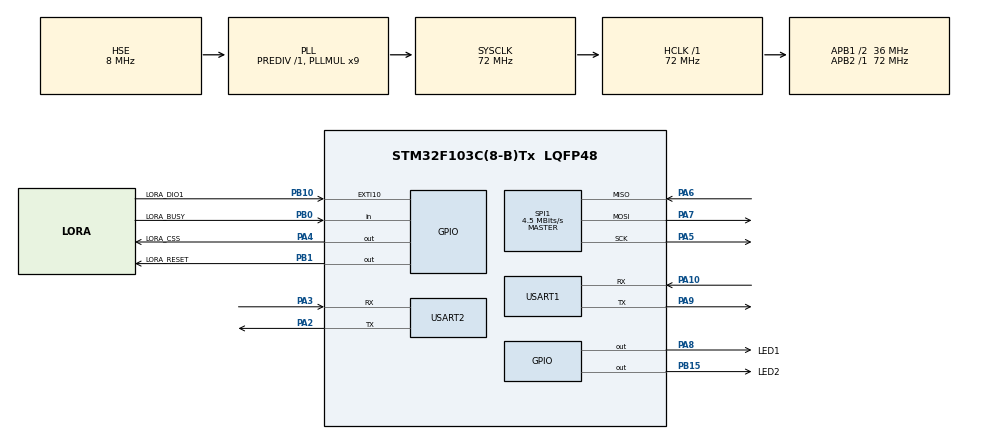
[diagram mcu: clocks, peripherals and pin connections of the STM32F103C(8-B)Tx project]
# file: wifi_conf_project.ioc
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IWDG.Prescaler=IWDG_PRESCALER_64
IWDG.Reload=1250
Mcu.Family=STM32F1
Mcu.Name=STM32F103C(8-B)Tx
Mcu.Package=LQFP48
NVIC.EXTI15_10_IRQn=true\:12\:0\:true\:false\:true\:true\:true\:true
NVIC.PriorityGroup=NVIC_PRIORITYGROUP_4
NVIC.TIM3_IRQn=true\:2\:0\:true\:false\:true\:true\:true\:true
NVIC.USART2_IRQn=true\:12\:0\:true\:false\:true\:true\:true\:true
PA10.Mode=Asynchronous
PA10.Signal=USART1_RX
PA13.Mode=Serial_Wire
PA13.Signal=SYS_JTMS-SWDIO
PA14.Mode=Serial_Wire
PA14.Signal=SYS_JTCK-SWCLK
PA2.Mode=Asynchronous
PA2.Signal=USART2_TX
PA3.Mode=Asynchronous
PA3.Signal=USART2_RX
PA4.GPIO_Label=LORA_CSS
PA4.PinState=GPIO_PIN_SET
PA4.Signal=GPIO_Output
PA5.Mode=Full_Duplex_Master
PA5.Signal=SPI1_SCK
PA6.Mode=Full_Duplex_Master
PA6.Signal=SPI1_MISO
PA7.Mode=Full_Duplex_Master
PA7.Signal=SPI1_MOSI
PA8.GPIO_Label=LED1
PA8.PinState=GPIO_PIN_SET
PA8.Signal=GPIO_Output
PA9.Mode=Asynchronous
PA9.Signal=USART1_TX
PB0.GPIO_Label=LORA_BUSY
PB0.GPIO_PuPd=GPIO_PULLUP
PB0.Signal=GPIO_Input
PB1.GPIO_Label=LORA_RESET
PB1.PinState=GPIO_PIN_SET
PB1.Signal=GPIO_Output
PB10.GPIO_Label=LORA_DIO1
PB10.GPIO_PuPd=GPIO_PULLDOWN
PB10.Signal=GPXTI10
PB15.GPIO_Label=LED2
PB15.PinState=GPIO_PIN_SET
PB15.Signal=GPIO_Output
PD0-OSC_IN.Mode=HSE-External-Oscillator
PD0-OSC_IN.Signal=RCC_OSC_IN
PD1-OSC_OUT.Mode=HSE-External-Oscillator
PD1-OSC_OUT.Signal=RCC_OSC_OUT
ProjectManager.HeapSize=0x200
ProjectManager.StackSize=0x400
ProjectManager.TargetToolchain=MDK-ARM V5
RCC.AHBFreq_Value=72000000
RCC.APB1CLKDivider=RCC_HCLK_DIV2
RCC.APB1Freq_Value=36000000
RCC.APB1TimFreq_Value=72000000
RCC.APB2Freq_Value=72000000
RCC.APB2TimFreq_Value=72000000
RCC.HCLKFreq_Value=72000000
RCC.PLLMUL=RCC_PLL_MUL9
RCC.PLLSourceVirtual=RCC_PLLSOURCE_HSE
RCC.SYSCLKFreq_VALUE=72000000
RCC.SYSCLKSource=RCC_SYSCLKSOURCE_PLLCLK
RCC.USBFreq_Value=72000000
SPI1.BaudRatePrescaler=SPI_BAUDRATEPRESCALER_16
SPI1.CalculateBaudRate=4.5 MBits/s
SPI1.Direction=SPI_DIRECTION_2LINES
SPI1.Mode=SPI_MODE_MASTER
SPI1.VirtualType=VM_MASTER
TIM3.Period=1000 - 1
TIM3.Prescaler=72 - 1
TIM4.Prescaler=72-1
USART1.VirtualMode=VM_ASYNC
USART2.VirtualMode=VM_ASYNC
VP_IWDG_VS_IWDG.Mode=IWDG_Activate
VP_TIM3_VS_ClockSourceINT.Mode=Internal
VP_TIM4_VS_ClockSourceINT.Mode=Internal
board=custom

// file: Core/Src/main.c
/* USER CODE BEGIN Header */
/**
 ******************************************************************************
 * @file           : main.c
 * @brief          : Main program body
 ******************************************************************************
 * @attention
 *
 * Copyright (c) 2026 STMicroelectronics.
 * All rights reserved.
 *
 * This software is licensed under terms that can be found in the LICENSE file
 * in the root directory of this software component.
 * If no LICENSE file comes with this software, it is provided AS-IS.
 *
 ******************************************************************************
 */
/* USER CODE END Header */
#include "main.h"
#include "iwdg.h"
#include "spi.h"
#include "tim.h"
#include "usart.h"
#include "gpio.h"

/* USER CODE BEGIN Includes */
#include <stdio.h>
#include <string.h>
#include <stdlib.h>
#include <stdbool.h>
#include "mqtt.h"
#include "delay.h"
#include "esp12e.h"
#include "radio.h"
#include "llcc68_example_recive.h"
#include "llcc68-board.h"
#include "project_config.h"

#include "FreeRTOSConfig.h"
#include "queue.h"
#include "iwdg.h"

/* USER CODE END Includes */

/* USER CODE BEGIN PTD */
/* LoRa 上行：终端板发来的传感器数据 */
typedef struct
{
  uint16_t light;
  uint16_t co2;
  float soil;
  float temp;
  float humi;
} SensorData;

/* LoRa 下行：网关发给终端板的命令帧，如 "RELAY:ON" */
typedef struct
{
  char frame[32];
} LoraCmd;
/* USER CODE END PTD */

/* USER CODE BEGIN PV */
#define BUF_SIZE 256
#define RADIO_RX_TEXT_SIZE 256U
uint8_t u2_rxbuf[BUF_SIZE] = {0};  // 用于记录单段数据的接收缓冲区
uint8_t u2_rxdata[BUF_SIZE] = {0}; // 用于记录完整数据的接收缓冲区

uint8_t u2_txdata[BUF_SIZE] = {0}; // 用于记录完整数据的发送缓冲区

volatile uint16_t u2_rxlen = 0;      // 用于记录接收完整数据的长度
volatile uint16_t u2_txlen = 0;      // 用于记录发送完整数据的长度
volatile uint8_t rx_flag = 0;        // 接收标志	用于标记是否收到服务器的消息
volatile uint8_t wifi_conf_flag = 0; // 配置标志  进入透传之后会生成

volatile uint8_t num = 0;

uint16_t light;
uint16_t co2;
float soil;
float temp;
float humi;

static QueueHandle_t xUplinkQueue = NULL; /* LoRaTask -> NetTask  */
static QueueHandle_t xLoraTxQueue = NULL; /* NetTask  -> LoRaTask */

static TaskHandle_t xNetTaskHandle = NULL; /* 给中断/其他任务发通知用 */
static TaskHandle_t xLoRaTaskHandle = NULL;

volatile uint8_t g_net_ready = 0;   /* 1 = MQTT 已连接，可以上报 */
extern bool IrqFired;                     /* radio.c 里的全局变量 */

/* USER CODE END PV */

void SystemClock_Config(void);
/* USER CODE BEGIN PFP */
static void vNetTask(void *pvParameters);
static void vLoRaTask(void *pvParameters);
static void vStatusTask(void *pvParameters);
/* USER CODE END PFP */

/* USER CODE BEGIN 0 */
int parse_sensor(const char *s)
{
  char tmp[64];
  char *p, *tok;

  /* 复制一份，strtok 会改原串 */
  if (strlen(s) >= sizeof(tmp))
    return -1;
  strcpy(tmp, s);

  tok = strtok(tmp, "_");
  if (!tok)
    return -1;
  light = (uint16_t)atoi(tok);
  tok = strtok(NULL, "_");
  if (!tok)
    return -1;
  soil = atof(tok);
  tok = strtok(NULL, "_");
  if (!tok)
    return -1;
  co2 = (uint16_t)atoi(tok);
  tok = strtok(NULL, "_");
  if (!tok)
    return -1;
  temp = atof(tok);
  tok = strtok(NULL, "_");
  if (!tok)
    return -1;
  humi = atof(tok);

  return 0;
}

/* 网络任务：以后负责 USART2 / AT / MQTT */
static void vNetTask(void *pvParameters)
{
  SensorData d;
  char pub[16];

  TickType_t last_print = xTaskGetTickCount();

  (void)pvParameters;

  if (HAL_UARTEx_ReceiveToIdle_IT(&huart2, u2_rxbuf, BUF_SIZE) != HAL_OK)
  {
    Error_Handler();
  }

  /* 1. WiFi + TCP 透传 */
  for (;;)
  {
    while (wifi_connect() == false)
    {
      printf("WiFi 连接失败，2 秒后重试\r\n");
      g_net_ready = 0;
      vTaskDelay(pdMS_TO_TICKS(2000));
    }

    if (MQTT_CONNECT((char *)CLIENT_KEY))
    {
      printf("MQTT CONNECT 成功\r\n");
      break;
    }

    printf("MQTT CONNECT 失败，2 秒后重连\r\n");
    g_net_ready = 0;
    vTaskDelay(pdMS_TO_TICKS(2000));
  }

  /* 2. 订阅 5 个传感器 + 1 个继电器 */
  MQTT_SUBSCRIBE(CLIENT_LIGHT_TOPIC, 0);
  MQTT_SUBSCRIBE(CLIENT_SOIL_TOPIC, 0);
  MQTT_SUBSCRIBE(CLIENT_CO2_TOPIC, 0);
  MQTT_SUBSCRIBE(CLIENT_TEMP_TOPIC, 0);
  MQTT_SUBSCRIBE(CLIENT_HUMI_TOPIC, 0);
  MQTT_SUBSCRIBE(CLIENT_RELAY_TOPIC, 0);

  printf("MQTT 初始化完成\r\n");
  g_net_ready = 1;
  TickType_t hreat = xTaskGetTickCount();
  /* 3. 主循环：处理下行 */
  for (;;)
  {
    if(xTaskGetTickCount() - hreat > pdMS_TO_TICKS(60000))
    {
      mqtt_ping();
      hreat = xTaskGetTickCount();
    }

    (void)ulTaskNotifyTake(pdTRUE, pdMS_TO_TICKS(500));

    /* ===== 上行：LoRaTask 投递的传感器数据 ===== */
    while (xQueueReceive(xUplinkQueue, &d, 0) == pdPASS)
    {
      snprintf(pub, sizeof(pub), "%u", (unsigned)d.light);
      MQTT_Publish(CLIENT_LIGHT_TOPIC, pub);

      snprintf(pub, sizeof(pub), "%.1f", d.soil);
      MQTT_Publish(CLIENT_SOIL_TOPIC, pub);

      snprintf(pub, sizeof(pub), "%u", (unsigned)d.co2);
      MQTT_Publish(CLIENT_CO2_TOPIC, pub);

      snprintf(pub, sizeof(pub), "%.1f", d.temp);
      MQTT_Publish(CLIENT_TEMP_TOPIC, pub);

      snprintf(pub, sizeof(pub), "%.1f", d.humi);
      MQTT_Publish(CLIENT_HUMI_TOPIC, pub);
    }

    if (rx_flag)
    {
      rx_flag = 0;

      if (u2_rxlen > 4 && u2_rxdata[0] == 0x30)
      {
        uint8_t rem = u2_rxdata[1]; // 本帧剩余长度
        uint16_t topic_len = (u2_rxdata[2] << 8) | u2_rxdata[3];
        uint16_t payload_index = 2 + 2 + topic_len;
        uint16_t payload_len = rem - 2 - topic_len;

        if (payload_index < u2_rxlen)
        {
          uint8_t payload_buf[BUF_SIZE] = {0};

          if (payload_len >= BUF_SIZE)
            payload_len = BUF_SIZE - 1;
          memcpy(payload_buf, &u2_rxdata[payload_index], payload_len);
          payload_buf[payload_len] = '\0';

          printf("云平台:[%s]\r\n", payload_buf);

          if ((topic_len == strlen(CLIENT_LIGHT_TOPIC)) && (memcmp(&u2_rxdata[4], CLIENT_LIGHT_TOPIC, topic_len) == 0))
          {
            if (strstr((char *)payload_buf, "on"))
              HAL_GPIO_WritePin(GPIOA, LED1_Pin, GPIO_PIN_RESET);
            else if (strstr((char *)payload_buf, "off"))
              HAL_GPIO_WritePin(GPIOA, LED1_Pin, GPIO_PIN_SET);
          }
          else if ((topic_len == strlen(CLIENT_RELAY_TOPIC)) && (memcmp(&u2_rxdata[4], CLIENT_RELAY_TOPIC, topic_len) == 0))
          {
            // 发送继电器下发的开关命令
          }
        }
      }

      USART2_ClearBuffer();
    }

    if ((xTaskGetTickCount() - last_print) >= pdMS_TO_TICKS(1000))
    {
      last_print = xTaskGetTickCount();
      printf("NET alive, heap=%u\r\n", (unsigned)xPortGetFreeHeapSize());
    }
  }
}

/* LoRa 任务：收终端板的数据，投给 NetTask */
static void vLoRaTask(void *pvParameters)
{
  SensorData data;

  (void)pvParameters;

  /* 如果之前加了“网络就绪才收”，这两行保留在 g_net_ready 判断之后 */
  while(g_net_ready == 0)
  {
    vTaskDelay(pdMS_TO_TICKS(100));
  }

  LLCC68ReciveInit();
  printf("LoRa init done\r\n");

  for (;;)
  {
    // printf("%d\n", g_dio1_cnt);
    /* 真正的事件源：DIO1 中断把 IrqFired 置 1，
       这里只负责处理 */
    Radio.IrqProcess();

    if (lora_rx_flag)
    {
      lora_rx_flag = 0;

      if (parse_sensor((const char *)lora_rx_buf) == 0)
      {
        data.light = light;
        data.co2   = co2;
        data.soil  = soil;
        data.temp  = temp;
        data.humi  = humi;

        printf("LoRa RX: %s (rssi=%d snr=%d)\r\n",
               lora_rx_buf, lora_rx_rssi, lora_rx_snr);

        if (xQueueSend(xUplinkQueue, &data, 0) == pdPASS)
        {
          xTaskNotifyGive(xNetTaskHandle);
        }
      }
    }

    vTaskDelay(pdMS_TO_TICKS(5));
  }
}

/* 状态任务：心跳灯 + 喂狗 */
static void vStatusTask(void *pvParameters)
{
  (void)pvParameters;

  for (;;)
  {
    // HAL_GPIO_TogglePin(LED1_GPIO_Port, LED1_Pin);
    (void)HAL_IWDG_Refresh(&hiwdg);

    vTaskDelay(pdMS_TO_TICKS(500));
  }
}
/* USER CODE END 0 */

int main(void)
{

  /* MCU Configuration--------------------------------------------------------*/

  /* Reset of all peripherals, Initializes the Flash interface and the Systick. */
  HAL_Init();

  /* Configure the system clock */
  SystemClock_Config();

  /* Initialize all configured peripherals */
  MX_GPIO_Init();
  MX_USART1_UART_Init();
  MX_USART2_UART_Init();
  MX_SPI1_Init();
  MX_TIM4_Init();
  MX_TIM3_Init();
  MX_IWDG_Init();
  /* USER CODE BEGIN 2 */

  /* 延时用 TIM4，保留 */
  HAL_TIM_Base_Start(&htim4);

  /* 1. 先创建 IPC 对象 */
  xUplinkQueue = xQueueCreate(4, sizeof(SensorData));
  xLoraTxQueue = xQueueCreate(4, sizeof(LoraCmd));

  if ((xUplinkQueue == NULL) || (xLoraTxQueue == NULL))
  {
    Error_Handler();
  }

  /* 2. 再创建任务 */
  if (xTaskCreate(vNetTask, "NET", 768, NULL, 4, &xNetTaskHandle) != pdPASS)
    Error_Handler();
  if (xTaskCreate(vLoRaTask, "LORA", 512, NULL, 3, &xLoRaTaskHandle) != pdPASS)
    Error_Handler();
  if (xTaskCreate(vStatusTask, "STAT", 128, NULL, 1, NULL) != pdPASS)
    Error_Handler();

  /* 3. 启动调度器（成功不返回） */
  vTaskStartScheduler();

  /* 只有启动失败才会到这里 */
  Error_Handler();
  /* USER CODE END 2 */

  /* Infinite loop */
  while (1)
  {

  }
}

void SystemClock_Config(void)
{
  RCC_OscInitTypeDef RCC_OscInitStruct = {0};
  RCC_ClkInitTypeDef RCC_ClkInitStruct = {0};

  /** Initializes the RCC Oscillators according to the specified parameters
  * in the RCC_OscInitTypeDef structure.
  */
  RCC_OscInitStruct.OscillatorType = RCC_OSCILLATORTYPE_LSI|RCC_OSCILLATORTYPE_HSE;
  RCC_OscInitStruct.HSEState = RCC_HSE_ON;
  RCC_OscInitStruct.HSEPredivValue = RCC_HSE_PREDIV_DIV1;
  RCC_OscInitStruct.HSIState = RCC_HSI_ON;
  RCC_OscInitStruct.LSIState = RCC_LSI_ON;
  RCC_OscInitStruct.PLL.PLLState = RCC_PLL_ON;
  RCC_OscInitStruct.PLL.PLLSource = RCC_PLLSOURCE_HSE;
  RCC_OscInitStruct.PLL.PLLMUL = RCC_PLL_MUL9;
  if (HAL_RCC_OscConfig(&RCC_OscInitStruct) != HAL_OK)
  {
    Error_Handler();
  }

  /** Initializes the CPU, AHB and APB buses clocks
  */
  RCC_ClkInitStruct.ClockType = RCC_CLOCKTYPE_HCLK|RCC_CLOCKTYPE_SYSCLK
                              |RCC_CLOCKTYPE_PCLK1|RCC_CLOCKTYPE_PCLK2;
  RCC_ClkInitStruct.SYSCLKSource = RCC_SYSCLKSOURCE_PLLCLK;
  RCC_ClkInitStruct.AHBCLKDivider = RCC_SYSCLK_DIV1;
  RCC_ClkInitStruct.APB1CLKDivider = RCC_HCLK_DIV2;
  RCC_ClkInitStruct.APB2CLKDivider = RCC_HCLK_DIV1;

  if (HAL_RCC_ClockConfig(&RCC_ClkInitStruct, FLASH_LATENCY_2) != HAL_OK)
  {
    Error_Handler();
  }
}

/* USER CODE BEGIN 4 */
// 空闲中断的回调函数  第二个参数Size就是接收的数据长度
void HAL_UARTEx_RxEventCallback(UART_HandleTypeDef *huart, uint16_t Size)
{
  BaseType_t woken = pdFALSE;

  if (huart->Instance == USART2)
  {
    /* 1. AT 用的环形缓冲 */
    UART_RingPut(u2_rxbuf, Size);

    /* 2. MQTT 用的累积缓冲（你原来的逻辑） */
    if (u2_rxlen + Size < BUF_SIZE)
    {
      memcpy(&u2_rxdata[u2_rxlen], u2_rxbuf, Size);
      u2_rxlen = (uint16_t)(u2_rxlen + Size);
      u2_rxdata[u2_rxlen] = '\0';
    }

    /* 3. 透传后收到的都是服务器数据 */
    if (wifi_conf_flag)
    {
      rx_flag = 1;
    }

    /* 4. 叫醒 NetTask */
    vTaskNotifyGiveFromISR(xNetTaskHandle, &woken);

    /* 5. 重新挂接收 */
    HAL_UARTEx_ReceiveToIdle_IT(&huart2, u2_rxbuf, BUF_SIZE);

    portYIELD_FROM_ISR(woken);
  }
}
// void HAL_UARTEx_RxEventCallback(UART_HandleTypeDef *huart, uint16_t Size)
// {
//   if (huart->Instance == USART2)
//   {
//     // 该标志一旦成立，说明wifi已经进入透传，此时触发回调收到的数据统统来自服务器
//     if (wifi_conf_flag)
//     {
//       rx_flag = 1;
//     }

//     if (u2_rxlen + Size < BUF_SIZE)
//     {
//       // 拷贝本次接收的单段数据到记录完整数据的接收缓冲区中
//       memcpy(&u2_rxdata[u2_rxlen], u2_rxbuf, Size);
//       u2_rxlen += Size;
//       u2_rxdata[u2_rxlen] = '\0';
//     }

//     // 重新启用空闲接收
//     HAL_UARTEx_ReceiveToIdle_IT(&huart2, u2_rxbuf, BUF_SIZE);
//   }
// }
/* USER CODE END 4 */

void Error_Handler(void)
{
  __disable_irq();
  while (1)
  {
  }
}
